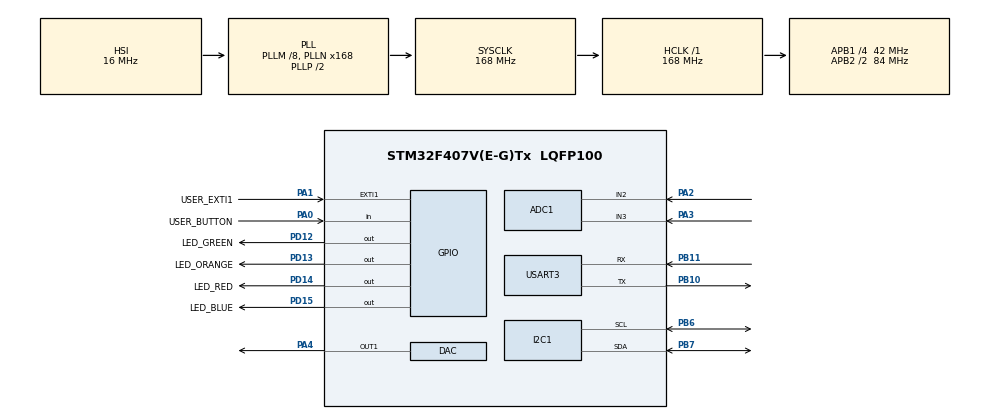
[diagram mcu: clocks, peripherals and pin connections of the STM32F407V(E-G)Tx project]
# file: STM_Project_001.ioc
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ADC1.Channel-0\#ChannelRegularConversion=ADC_CHANNEL_2
ADC1.Channel-1\#ChannelRegularConversion=ADC_CHANNEL_3
ADC1.Channel-2\#ChannelRegularConversion=ADC_CHANNEL_TEMPSENSOR
ADC1.Channel-3\#ChannelRegularConversion=ADC_CHANNEL_VREFINT
ADC1.Channel-4\#ChannelRegularConversion=ADC_CHANNEL_VBAT
ADC1.ContinuousConvMode=ENABLE
ADC1.DMAContinuousRequests=ENABLE
ADC1.EOCSelection=ADC_EOC_SEQ_CONV
ADC1.NbrOfConversion=5
ADC1.NbrOfConversionFlag=1
ADC1.Rank-0\#ChannelRegularConversion=1
ADC1.Rank-1\#ChannelRegularConversion=2
ADC1.Rank-2\#ChannelRegularConversion=3
ADC1.Rank-3\#ChannelRegularConversion=4
ADC1.Rank-4\#ChannelRegularConversion=5
ADC1.SamplingTime-0\#ChannelRegularConversion=ADC_SAMPLETIME_56CYCLES
ADC1.SamplingTime-1\#ChannelRegularConversion=ADC_SAMPLETIME_56CYCLES
ADC1.SamplingTime-2\#ChannelRegularConversion=ADC_SAMPLETIME_480CYCLES
ADC1.SamplingTime-3\#ChannelRegularConversion=ADC_SAMPLETIME_480CYCLES
ADC1.SamplingTime-4\#ChannelRegularConversion=ADC_SAMPLETIME_480CYCLES
ADC1.ScanConvMode=ENABLE
ADC1.master=1
Dma.ADC1.0.Direction=DMA_PERIPH_TO_MEMORY
Dma.ADC1.0.FIFOMode=DMA_FIFOMODE_DISABLE
Dma.ADC1.0.Instance=DMA2_Stream0
Dma.ADC1.0.MemDataAlignment=DMA_MDATAALIGN_HALFWORD
Dma.ADC1.0.MemInc=DMA_MINC_ENABLE
Dma.ADC1.0.Mode=DMA_CIRCULAR
Dma.ADC1.0.PeriphDataAlignment=DMA_PDATAALIGN_HALFWORD
Dma.ADC1.0.PeriphInc=DMA_PINC_DISABLE
Dma.ADC1.0.Priority=DMA_PRIORITY_LOW
Dma.Request0=ADC1
Mcu.Family=STM32F4
Mcu.Name=STM32F407V(E-G)Tx
Mcu.Package=LQFP100
NVIC.DMA2_Stream0_IRQn=true\:0\:0\:false\:false\:true\:false\:true\:true
NVIC.EXTI1_IRQn=true\:0\:0\:false\:false\:true\:true\:true\:true
NVIC.PriorityGroup=NVIC_PRIORITYGROUP_4
NVIC.TIM8_TRG_COM_TIM14_IRQn=true\:0\:0\:false\:false\:true\:true\:true\:true
NVIC.USART3_IRQn=true\:0\:0\:false\:false\:true\:true\:true\:true
PA0-WKUP.GPIO_Label=USER_BUTTON
PA0-WKUP.Signal=GPIO_Input
PA1.GPIO_Label=USER_EXTI1
PA1.Signal=GPXTI1
PA2.Signal=ADCx_IN2
PA3.Signal=ADCx_IN3
PA4.Signal=COMP_DAC1_group
PB10.Mode=Asynchronous
PB10.Signal=USART3_TX
PB11.Mode=Asynchronous
PB11.Signal=USART3_RX
PB6.Mode=I2C
PB6.Signal=I2C1_SCL
PB7.Mode=I2C
PB7.Signal=I2C1_SDA
PD12.GPIO_Label=LED_GREEN
PD12.Signal=GPIO_Output
PD13.GPIO_Label=LED_ORANGE
PD13.Signal=GPIO_Output
PD14.GPIO_Label=LED_RED
PD14.Signal=GPIO_Output
PD15.GPIO_Label=LED_BLUE
PD15.Signal=GPIO_Output
PH0-OSC_IN.Mode=HSE-External-Oscillator
PH0-OSC_IN.Signal=RCC_OSC_IN
PH1-OSC_OUT.Mode=HSE-External-Oscillator
PH1-OSC_OUT.Signal=RCC_OSC_OUT
ProjectManager.HeapSize=0x200
ProjectManager.StackSize=0x400
ProjectManager.TargetToolchain=STM32CubeIDE
RCC.48MHZClocksFreq_Value=84000000
RCC.AHBFreq_Value=168000000
RCC.APB1CLKDivider=RCC_HCLK_DIV4
RCC.APB1Freq_Value=42000000
RCC.APB1TimFreq_Value=84000000
RCC.APB2CLKDivider=RCC_HCLK_DIV2
RCC.APB2Freq_Value=84000000
RCC.APB2TimFreq_Value=168000000
RCC.CortexFreq_Value=168000000
RCC.HCLKFreq_Value=168000000
RCC.HSE_VALUE=8000000
RCC.HSI_VALUE=16000000
RCC.LSE_VALUE=32768
RCC.PLLM=8
RCC.PLLN=168
RCC.SYSCLKFreq_VALUE=168000000
RCC.SYSCLKSource=RCC_SYSCLKSOURCE_PLLCLK
RCC.VCOOutputFreq_Value=336000000
SH.ADCx_IN2.0=ADC1_IN2,IN2
SH.ADCx_IN3.0=ADC1_IN3,IN3
SH.COMP_DAC1_group.0=DAC_OUT1,DAC_OUT1
TIM14.Period=999
TIM14.Prescaler=83
USART3.VirtualMode=VM_ASYNC
VP_ADC1_TempSens_Input.Mode=IN-TempSens
VP_ADC1_Vbat_Input.Mode=IN-Vbat
VP_ADC1_Vref_Input.Mode=IN-Vrefint
VP_TIM14_VS_ClockSourceINT.Mode=Enable_Timer
board=custom

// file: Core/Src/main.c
/* USER CODE BEGIN Header */
/**
  ******************************************************************************
  * @file           : main.c
  * @brief          : Main program body
  ******************************************************************************
  * @attention
  *
  * Copyright (c) 2026 STMicroelectronics.
  * All rights reserved.
  *
  * This software is licensed under terms that can be found in the LICENSE file
  * in the root directory of this software component.
  * If no LICENSE file comes with this software, it is provided AS-IS.
  *
  ******************************************************************************
  */
/* USER CODE END Header */
#include "main.h"

/* USER CODE BEGIN Includes */
#include "io_driver.h"
#include "adc_driver.h"
#include "uart_ex.h"
#include "lcd_2x16_driver.h"
#include "software_timer.h"
/* USER CODE END Includes */

ADC_HandleTypeDef hadc1;
DMA_HandleTypeDef hdma_adc1;

DAC_HandleTypeDef hdac;

I2C_HandleTypeDef hi2c1;

TIM_HandleTypeDef htim14;

UART_HandleTypeDef huart3;

/* USER CODE BEGIN PV */
IO_Info_t ioInfo;
ADC_Info_t adcInfo;
UART_Ex_t uart3;
Circular_Buffer_t uartCbIn;
Circular_Buffer_t uartCbOut;

char rxBuffer[128];

LCD_t lcd =
{
		.hi2c = &hi2c1,
		.i2c_addr = LCD_I2C_DEVICE_ADDRESS,
		.rows 	= 2,
		.columns = 16,
		.backlight = true,
};
STimer_t sTimer_200ms;
/* USER CODE END PV */

void SystemClock_Config(void);
static void MX_GPIO_Init(void);
static void MX_DMA_Init(void);
static void MX_ADC1_Init(void);
static void MX_DAC_Init(void);
static void MX_USART3_UART_Init(void);
static void MX_I2C1_Init(void);
static void MX_TIM14_Init(void);

int main(void)
{

  /* MCU Configuration--------------------------------------------------------*/

  /* Reset of all peripherals, Initializes the Flash interface and the Systick. */
  HAL_Init();

  /* Configure the system clock */
  SystemClock_Config();

  /* Initialize all configured peripherals */
  MX_GPIO_Init();
  MX_DMA_Init();
  MX_ADC1_Init();
  MX_DAC_Init();
  MX_USART3_UART_Init();
  MX_I2C1_Init();
  MX_TIM14_Init();
  /* USER CODE BEGIN 2 */
  Software_Timer_Init(&htim14);
 IO_Initialization(&ioInfo);
 UARTx_Initilalization(&uart3, &huart3, &uartCbIn, &uartCbOut);

 LCD_Initialization(&lcd);
 LCD_Clear(&lcd);
 LCD_Set_Cursor(&lcd, 0, 0);
 LCD_Send_String(&lcd, "STM Project!");

 ADC_Initialization(&adcInfo, &hadc1);
 LCD_Set_Cursor(&lcd, 1, 0);
 if(adcInfo.adcErrorStatus== ADC_Init_Start_Error)
 {
	 ioInfo.outputsInfo.ledRed.pinState = GPIO_PIN_SET;
	 UARTx_Printf(&uart3, "ADC initialization ERROR!\r\n");
	 LCD_Printf(&lcd, "%-16s", "ADC Init Error!");
 }
 else
 {
	 ioInfo.outputsInfo.ledGreen.pinState = GPIO_PIN_SET;
	 UARTx_Printf(&uart3, "ADC initialization successfull!\r\n");
	 LCD_Printf(&lcd, "%-16s", "ADC Init OK!");
 }
 HAL_Delay(1000);

 LCD_Set_Cursor(&lcd, 1, 0);
 if(HAL_DAC_Start(&hdac, DAC_CHANNEL_1)==HAL_OK)
 {
	 UARTx_Printf(&uart3, "DAC initialization successfull!\r\n");
	 LCD_Printf(&lcd, "%-16s", "DAC Init OK!");
 }
 else
 {
	 ioInfo.outputsInfo.ledRed.pinState = GPIO_PIN_SET;
	 UARTx_Printf(&uart3, "DAC initialization ERROR!\r\n");
	 LCD_Printf(&lcd, "%-16s", "DAC Init Error!");
 }
 HAL_Delay(1000);

Software_Timer_Set_Time(&sTimer_200ms, 200);

  /* USER CODE END 2 */

  /* Infinite loop */
  while (1)
  {

    /* USER CODE BEGIN 3 */
	  IO_Status_Control(&ioInfo);
	  ADC_DMA_Conversion(&adcInfo);

	  HAL_DAC_SetValue(&hdac, DAC_CHANNEL_1, DAC_ALIGN_12B_R, adcInfo.adcAverageData[ADC_Channel_3]);

	  if(UARTx_ReadLine(&uart3, rxBuffer, sizeof(rxBuffer)))
	  {
		  if(strstr(rxBuffer,"LED1 = ON ")!=NULL)
		  {
			  ioInfo.outputsInfo.ledGreen.pinState = GPIO_PIN_SET;
		  }
		  else if(strstr(rxBuffer,"LED2 = OFF ")!=NULL)
		  {
			  // UART driverini kullanarak kullaniciya mesaj da verilebilir
			  ioInfo.outputsInfo.ledBlue.pinState = GPIO_PIN_RESET;
		  }
		  else
		  {
			  // TODO: farkli pinler icinde islemler yapilabilir
		  }

		  if(strncmp(rxBuffer, "LED2=", 5) == 0)
		  {
		  	char val = rxBuffer[5];

		  	if(val == '1')
		  	{
		  		ioInfo.outputsInfo.ledBlue.pinState = GPIO_PIN_SET;
		  	}
		  	else if(val == '0')
		  	{
		  		ioInfo.outputsInfo.ledBlue.pinState = GPIO_PIN_RESET;
		  	}
		  	else
		  	{
		  		UARTx_Printf(&uart3, "0 ya da 1 degerini giriniz!\r\n");
		  	}
		  }
	  }

	  // LCD 500 ms'de bir guncellenir; HAL_Delay olmadigi icin UART ve butonlar beklemez
	  if(Software_Timer_Check_Elapsed_Time(&sTimer_200ms))
	  {

		  LCD_Set_Cursor(&lcd, 0, 0);
		  LCD_Printf(&lcd, "%-16s", "STM Project!");
		  LCD_Set_Cursor(&lcd, 1, 0);
		  LCD_Printf(&lcd, "P:%3d%% T:%.1fC  ", adcInfo.potPercentage, adcInfo.temprature);

		  Software_Timer_Set_Time(&sTimer_200ms, 200);
	  }

  }
  /* USER CODE END 3 */
}

void SystemClock_Config(void)
{
  RCC_OscInitTypeDef RCC_OscInitStruct = {0};
  RCC_ClkInitTypeDef RCC_ClkInitStruct = {0};

  /** Configure the main internal regulator output voltage
  */
  __HAL_RCC_PWR_CLK_ENABLE();
  __HAL_PWR_VOLTAGESCALING_CONFIG(PWR_REGULATOR_VOLTAGE_SCALE1);

  /** Initializes the RCC Oscillators according to the specified parameters
  * in the RCC_OscInitTypeDef structure.
  */
  RCC_OscInitStruct.OscillatorType = RCC_OSCILLATORTYPE_HSI;
  RCC_OscInitStruct.HSIState = RCC_HSI_ON;
  RCC_OscInitStruct.HSICalibrationValue = RCC_HSICALIBRATION_DEFAULT;
  RCC_OscInitStruct.PLL.PLLState = RCC_PLL_ON;
  RCC_OscInitStruct.PLL.PLLSource = RCC_PLLSOURCE_HSI;
  RCC_OscInitStruct.PLL.PLLM = 8;
  RCC_OscInitStruct.PLL.PLLN = 168;
  RCC_OscInitStruct.PLL.PLLP = RCC_PLLP_DIV2;
  RCC_OscInitStruct.PLL.PLLQ = 4;
  if (HAL_RCC_OscConfig(&RCC_OscInitStruct) != HAL_OK)
  {
    Error_Handler();
  }

  /** Initializes the CPU, AHB and APB buses clocks
  */
  RCC_ClkInitStruct.ClockType = RCC_CLOCKTYPE_HCLK|RCC_CLOCKTYPE_SYSCLK
                              |RCC_CLOCKTYPE_PCLK1|RCC_CLOCKTYPE_PCLK2;
  RCC_ClkInitStruct.SYSCLKSource = RCC_SYSCLKSOURCE_PLLCLK;
  RCC_ClkInitStruct.AHBCLKDivider = RCC_SYSCLK_DIV1;
  RCC_ClkInitStruct.APB1CLKDivider = RCC_HCLK_DIV4;
  RCC_ClkInitStruct.APB2CLKDivider = RCC_HCLK_DIV2;

  if (HAL_RCC_ClockConfig(&RCC_ClkInitStruct, FLASH_LATENCY_5) != HAL_OK)
  {
    Error_Handler();
  }
}

static void MX_ADC1_Init(void)
{

  ADC_ChannelConfTypeDef sConfig = {0};

  /** Configure the global features of the ADC (Clock, Resolution, Data Alignment and number of conversion)
  */
  hadc1.Instance = ADC1;
  hadc1.Init.ClockPrescaler = ADC_CLOCK_SYNC_PCLK_DIV4;
  hadc1.Init.Resolution = ADC_RESOLUTION_12B;
  hadc1.Init.ScanConvMode = ENABLE;
  hadc1.Init.ContinuousConvMode = ENABLE;
  hadc1.Init.DiscontinuousConvMode = DISABLE;
  hadc1.Init.ExternalTrigConvEdge = ADC_EXTERNALTRIGCONVEDGE_NONE;
  hadc1.Init.ExternalTrigConv = ADC_SOFTWARE_START;
  hadc1.Init.DataAlign = ADC_DATAALIGN_RIGHT;
  hadc1.Init.NbrOfConversion = 5;
  hadc1.Init.DMAContinuousRequests = ENABLE;
  hadc1.Init.EOCSelection = ADC_EOC_SEQ_CONV;
  if (HAL_ADC_Init(&hadc1) != HAL_OK)
  {
    Error_Handler();
  }

  /** Configure for the selected ADC regular channel its corresponding rank in the sequencer and its sample time.
  */
  sConfig.Channel = ADC_CHANNEL_2;
  sConfig.Rank = 1;
  sConfig.SamplingTime = ADC_SAMPLETIME_56CYCLES;
  if (HAL_ADC_ConfigChannel(&hadc1, &sConfig) != HAL_OK)
  {
    Error_Handler();
  }

  /** Configure for the selected ADC regular channel its corresponding rank in the sequencer and its sample time.
  */
  sConfig.Channel = ADC_CHANNEL_3;
  sConfig.Rank = 2;
  if (HAL_ADC_ConfigChannel(&hadc1, &sConfig) != HAL_OK)
  {
    Error_Handler();
  }

  /** Configure for the selected ADC regular channel its corresponding rank in the sequencer and its sample time.
  */
  sConfig.Channel = ADC_CHANNEL_TEMPSENSOR;
  sConfig.Rank = 3;
  sConfig.SamplingTime = ADC_SAMPLETIME_480CYCLES;
  if (HAL_ADC_ConfigChannel(&hadc1, &sConfig) != HAL_OK)
  {
    Error_Handler();
  }

  /** Configure for the selected ADC regular channel its corresponding rank in the sequencer and its sample time.
  */
  sConfig.Channel = ADC_CHANNEL_VREFINT;
  sConfig.Rank = 4;
  if (HAL_ADC_ConfigChannel(&hadc1, &sConfig) != HAL_OK)
  {
    Error_Handler();
  }

  /** Configure for the selected ADC regular channel its corresponding rank in the sequencer and its sample time.
  */
  sConfig.Channel = ADC_CHANNEL_VBAT;
  sConfig.Rank = 5;
  if (HAL_ADC_ConfigChannel(&hadc1, &sConfig) != HAL_OK)
  {
    Error_Handler();
  }

}

static void MX_DAC_Init(void)
{

  DAC_ChannelConfTypeDef sConfig = {0};

  /** DAC Initialization
  */
  hdac.Instance = DAC;
  if (HAL_DAC_Init(&hdac) != HAL_OK)
  {
    Error_Handler();
  }

  /** DAC channel OUT1 config
  */
  sConfig.DAC_Trigger = DAC_TRIGGER_NONE;
  sConfig.DAC_OutputBuffer = DAC_OUTPUTBUFFER_ENABLE;
  if (HAL_DAC_ConfigChannel(&hdac, &sConfig, DAC_CHANNEL_1) != HAL_OK)
  {
    Error_Handler();
  }

}

static void MX_I2C1_Init(void)
{

  hi2c1.Instance = I2C1;
  hi2c1.Init.ClockSpeed = 100000;
  hi2c1.Init.DutyCycle = I2C_DUTYCYCLE_2;
  hi2c1.Init.OwnAddress1 = 0;
  hi2c1.Init.AddressingMode = I2C_ADDRESSINGMODE_7BIT;
  hi2c1.Init.DualAddressMode = I2C_DUALADDRESS_DISABLE;
  hi2c1.Init.OwnAddress2 = 0;
  hi2c1.Init.GeneralCallMode = I2C_GENERALCALL_DISABLE;
  hi2c1.Init.NoStretchMode = I2C_NOSTRETCH_DISABLE;
  if (HAL_I2C_Init(&hi2c1) != HAL_OK)
  {
    Error_Handler();
  }

}

static void MX_TIM14_Init(void)
{

  htim14.Instance = TIM14;
  htim14.Init.Prescaler = 83;
  htim14.Init.CounterMode = TIM_COUNTERMODE_UP;
  htim14.Init.Period = 999;
  htim14.Init.ClockDivision = TIM_CLOCKDIVISION_DIV1;
  htim14.Init.AutoReloadPreload = TIM_AUTORELOAD_PRELOAD_DISABLE;
  if (HAL_TIM_Base_Init(&htim14) != HAL_OK)
  {
    Error_Handler();
  }

}

static void MX_USART3_UART_Init(void)
{

  huart3.Instance = USART3;
  huart3.Init.BaudRate = 115200;
  huart3.Init.WordLength = UART_WORDLENGTH_8B;
  huart3.Init.StopBits = UART_STOPBITS_1;
  huart3.Init.Parity = UART_PARITY_NONE;
  huart3.Init.Mode = UART_MODE_TX_RX;
  huart3.Init.HwFlowCtl = UART_HWCONTROL_NONE;
  huart3.Init.OverSampling = UART_OVERSAMPLING_16;
  if (HAL_UART_Init(&huart3) != HAL_OK)
  {
    Error_Handler();
  }

}

static void MX_DMA_Init(void)
{

  /* DMA controller clock enable */
  __HAL_RCC_DMA2_CLK_ENABLE();

  /* DMA interrupt init */
  /* DMA2_Stream0_IRQn interrupt configuration */
  HAL_NVIC_SetPriority(DMA2_Stream0_IRQn, 0, 0);
  HAL_NVIC_EnableIRQ(DMA2_Stream0_IRQn);

}

static void MX_GPIO_Init(void)
{
  GPIO_InitTypeDef GPIO_InitStruct = {0};

  /* GPIO Ports Clock Enable */
  __HAL_RCC_GPIOH_CLK_ENABLE();
  __HAL_RCC_GPIOA_CLK_ENABLE();
  __HAL_RCC_GPIOB_CLK_ENABLE();
  __HAL_RCC_GPIOD_CLK_ENABLE();

  /*Configure GPIO pin Output Level */
  HAL_GPIO_WritePin(GPIOD, LED_GREEN_Pin|LED_ORANGE_Pin|LED_RED_Pin|LED_BLUE_Pin, GPIO_PIN_RESET);

  /*Configure GPIO pin : USER_BUTTON_Pin */
  GPIO_InitStruct.Pin = USER_BUTTON_Pin;
  GPIO_InitStruct.Mode = GPIO_MODE_INPUT;
  GPIO_InitStruct.Pull = GPIO_NOPULL;
  HAL_GPIO_Init(USER_BUTTON_GPIO_Port, &GPIO_InitStruct);

  /*Configure GPIO pin : USER_EXTI1_Pin */
  GPIO_InitStruct.Pin = USER_EXTI1_Pin;
  GPIO_InitStruct.Mode = GPIO_MODE_IT_RISING;
  GPIO_InitStruct.Pull = GPIO_NOPULL;
  HAL_GPIO_Init(USER_EXTI1_GPIO_Port, &GPIO_InitStruct);

  /*Configure GPIO pins : LED_GREEN_Pin LED_ORANGE_Pin LED_RED_Pin LED_BLUE_Pin */
  GPIO_InitStruct.Pin = LED_GREEN_Pin|LED_ORANGE_Pin|LED_RED_Pin|LED_BLUE_Pin;
  GPIO_InitStruct.Mode = GPIO_MODE_OUTPUT_PP;
  GPIO_InitStruct.Pull = GPIO_NOPULL;
  GPIO_InitStruct.Speed = GPIO_SPEED_FREQ_LOW;
  HAL_GPIO_Init(GPIOD, &GPIO_InitStruct);

  /* EXTI interrupt init*/
  HAL_NVIC_SetPriority(EXTI1_IRQn, 0, 0);
  HAL_NVIC_EnableIRQ(EXTI1_IRQn);

}

/* USER CODE BEGIN 4 */
void HAL_UART_ErrorCallback(UART_HandleTypeDef *huart)
{
	// HAL_UART_IRQHandler overrun (ORE) gorunce RXNE kesmesini kapatir ve geri acmaz.
	// Bayragi temizleyip kesmeyi yeniden acmazsak UART bir daha veri almaz.
	if(huart == uart3.huart)
	{
		__HAL_UART_CLEAR_OREFLAG(huart);
		huart->ErrorCode = HAL_UART_ERROR_NONE;
		__HAL_UART_ENABLE_IT(huart, UART_IT_RXNE);
	}
}
/* USER CODE END 4 */

void Error_Handler(void)
{
  __disable_irq();
  while (1)
  {
  }
}
